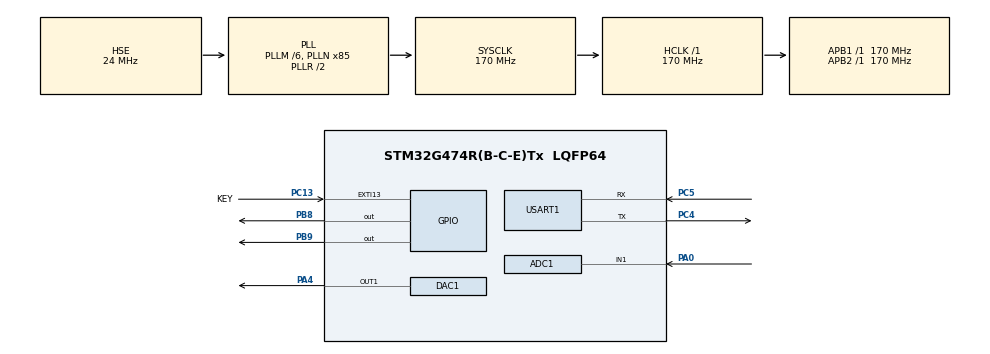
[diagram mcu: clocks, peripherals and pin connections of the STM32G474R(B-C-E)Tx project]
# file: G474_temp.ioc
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ADC1.Channel-0\#ChannelRegularConversion=ADC_CHANNEL_1
ADC1.ContinuousConvMode=DISABLE
ADC1.DMAContinuousRequests=ENABLE
ADC1.ExternalTrigConv=ADC_EXTERNALTRIG_T3_TRGO
ADC1.NbrOfConversionFlag=1
ADC1.OffsetNumber-0\#ChannelRegularConversion=ADC_OFFSET_NONE
ADC1.Overrun=ADC_OVR_DATA_PRESERVED
ADC1.Rank-0\#ChannelRegularConversion=1
ADC1.SamplingTime-0\#ChannelRegularConversion=ADC_SAMPLETIME_2CYCLES_5
ADC1.master=1
DAC1.DAC_Trigger_OUT1-DAC_OUT1=DAC_TRIGGER_T6_TRGO
Dma.ADC1.0.Direction=DMA_PERIPH_TO_MEMORY
Dma.ADC1.0.EventEnable=DISABLE
Dma.ADC1.0.Instance=DMA1_Channel1
Dma.ADC1.0.MemDataAlignment=DMA_MDATAALIGN_HALFWORD
Dma.ADC1.0.MemInc=DMA_MINC_ENABLE
Dma.ADC1.0.Mode=DMA_CIRCULAR
Dma.ADC1.0.PeriphDataAlignment=DMA_PDATAALIGN_HALFWORD
Dma.ADC1.0.PeriphInc=DMA_PINC_DISABLE
Dma.ADC1.0.Polarity=HAL_DMAMUX_REQ_GEN_RISING
Dma.ADC1.0.Priority=DMA_PRIORITY_LOW
Dma.ADC1.0.RequestNumber=1
Dma.ADC1.0.SignalID=NONE
Dma.ADC1.0.SyncEnable=DISABLE
Dma.ADC1.0.SyncPolarity=HAL_DMAMUX_SYNC_NO_EVENT
Dma.ADC1.0.SyncRequestNumber=1
Dma.ADC1.0.SyncSignalID=NONE
Dma.DAC1_CH1.1.Direction=DMA_MEMORY_TO_PERIPH
Dma.DAC1_CH1.1.EventEnable=DISABLE
Dma.DAC1_CH1.1.Instance=DMA1_Channel2
Dma.DAC1_CH1.1.MemDataAlignment=DMA_MDATAALIGN_HALFWORD
Dma.DAC1_CH1.1.MemInc=DMA_MINC_ENABLE
Dma.DAC1_CH1.1.Mode=DMA_CIRCULAR
Dma.DAC1_CH1.1.PeriphDataAlignment=DMA_PDATAALIGN_WORD
Dma.DAC1_CH1.1.PeriphInc=DMA_PINC_DISABLE
Dma.DAC1_CH1.1.Polarity=HAL_DMAMUX_REQ_GEN_RISING
Dma.DAC1_CH1.1.Priority=DMA_PRIORITY_LOW
Dma.DAC1_CH1.1.RequestNumber=1
Dma.DAC1_CH1.1.SignalID=NONE
Dma.DAC1_CH1.1.SyncEnable=DISABLE
Dma.DAC1_CH1.1.SyncPolarity=HAL_DMAMUX_SYNC_NO_EVENT
Dma.DAC1_CH1.1.SyncRequestNumber=1
Dma.DAC1_CH1.1.SyncSignalID=NONE
Dma.Request0=ADC1
Dma.Request1=DAC1_CH1
Mcu.Family=STM32G4
Mcu.Name=STM32G474R(B-C-E)Tx
Mcu.Package=LQFP64
NVIC.DMA1_Channel1_IRQn=true\:0\:0\:false\:false\:true\:false\:true\:true
NVIC.DMA1_Channel2_IRQn=true\:0\:0\:false\:false\:true\:false\:true\:true
NVIC.EXTI15_10_IRQn=true\:0\:0\:false\:false\:true\:true\:true\:true
NVIC.PriorityGroup=NVIC_PRIORITYGROUP_4
NVIC.USART1_IRQn=true\:0\:0\:false\:false\:true\:true\:true\:true
PA0.Mode=IN1-Single-Ended
PA0.Signal=ADC1_IN1
PA13.Mode=Serial_Wire
PA13.Signal=SYS_JTMS-SWDIO
PA14.Mode=Serial_Wire
PA14.Signal=SYS_JTCK-SWCLK
PA4.Signal=COMP_DAC11_group
PB8-BOOT0.GPIO_FM8=__NULL
PB8-BOOT0.GPIO_ModeDefaultOutputPP=GPIO_MODE_OUTPUT_OD
PB8-BOOT0.GPIO_PuPd=GPIO_PULLUP
PB8-BOOT0.GPIO_Speed=GPIO_SPEED_FREQ_VERY_HIGH
PB8-BOOT0.Signal=GPIO_Output
PB9.GPIO_ModeDefaultOutputPP=GPIO_MODE_OUTPUT_OD
PB9.GPIO_PuPd=GPIO_PULLUP
PB9.GPIO_Speed=GPIO_SPEED_FREQ_VERY_HIGH
PB9.Signal=GPIO_Output
PC13.GPIO_Label=KEY
PC13.Signal=GPXTI13
PC14-OSC32_IN.Mode=LSE-External-Oscillator
PC14-OSC32_IN.Signal=RCC_OSC32_IN
PC15-OSC32_OUT.Mode=LSE-External-Oscillator
PC15-OSC32_OUT.Signal=RCC_OSC32_OUT
PC4.Mode=Asynchronous
PC4.Signal=USART1_TX
PC5.Mode=Asynchronous
PC5.Signal=USART1_RX
PF0-OSC_IN.Mode=HSE-External-Oscillator
PF0-OSC_IN.Signal=RCC_OSC_IN
PF1-OSC_OUT.Mode=HSE-External-Oscillator
PF1-OSC_OUT.Signal=RCC_OSC_OUT
ProjectManager.HeapSize=0x200
ProjectManager.StackSize=0x400
ProjectManager.TargetToolchain=MDK-ARM V5.32
RCC.ADC12Freq_Value=170000000
RCC.ADC345Freq_Value=170000000
RCC.AHBFreq_Value=170000000
RCC.APB1Freq_Value=170000000
RCC.APB1TimFreq_Value=170000000
RCC.APB2Freq_Value=170000000
RCC.APB2TimFreq_Value=170000000
RCC.CortexFreq_Value=170000000
RCC.EXTERNAL_CLOCK_VALUE=12288000
RCC.HCLKFreq_Value=170000000
RCC.HSE_VALUE=24000000
RCC.HSI48_VALUE=48000000
RCC.HSI_VALUE=16000000
RCC.PLLM=RCC_PLLM_DIV6
RCC.PLLN=85
RCC.PLLSourceVirtual=RCC_PLLSOURCE_HSE
RCC.RTCClockSelection=RCC_RTCCLKSOURCE_LSE
RCC.SYSCLKFreq_VALUE=170000000
RCC.SYSCLKSource=RCC_SYSCLKSOURCE_PLLCLK
RCC.USBFreq_Value=170000000
RCC.VCOOutputFreq_Value=340000000
SH.COMP_DAC11_group.0=DAC1_OUT1,DAC_OUT1
TIM3.PeriodNoDither=10-1
TIM3.Prescaler=17-1
TIM3.TIM_MasterOutputTrigger=TIM_TRGO_UPDATE
TIM6.AutoReloadPreload=TIM_AUTORELOAD_PRELOAD_ENABLE
TIM6.PeriodNoDither=10-1
TIM6.Prescaler=17-1
TIM6.TIM_MasterOutputTrigger=TIM_TRGO_UPDATE
USART1.VirtualMode-Asynchronous=VM_ASYNC
VP_SYS_VS_DBSignals.Mode=DisableDeadBatterySignals
VP_TIM3_VS_ClockSourceINT.Mode=Internal
VP_TIM6_VS_ClockSourceINT.Mode=Enable_Timer
board=NUCLEO-G474RE

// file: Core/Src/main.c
/* USER CODE BEGIN Header */
/**
  ******************************************************************************
  * @file           : main.c
  * @brief          : Main program body
  ******************************************************************************
  * @attention
  *
  * Copyright (c) 2023 STMicroelectronics.
  * All rights reserved.
  *
  * This software is licensed under terms that can be found in the LICENSE file
  * in the root directory of this software component.
  * If no LICENSE file comes with this software, it is provided AS-IS.
  *
  ******************************************************************************
  */
/* USER CODE END Header */
#include "main.h"
#include "adc.h"
#include "dac.h"
#include "dma.h"
#include "tim.h"
#include "usart.h"
#include "gpio.h"

/* USER CODE BEGIN Includes */
#include "delay.h"
#include "myusart1.h"
#include "OLED_I2C.h"
/* USER CODE END Includes */

void SystemClock_Config(void);
/* USER CODE BEGIN PFP */
uint16_t adc_value[100]={0};
uint16_t dac_value[100]={0};
/* USER CODE END PFP */

int main(void)
{

  /* MCU Configuration--------------------------------------------------------*/

  /* Reset of all peripherals, Initializes the Flash interface and the Systick. */
  HAL_Init();

  /* Configure the system clock */
  SystemClock_Config();

  /* Initialize all configured peripherals */
  MX_GPIO_Init();
  MX_DMA_Init();
  MX_USART1_UART_Init();
  MX_ADC1_Init();
  MX_DAC1_Init();
  MX_TIM6_Init();
  MX_TIM3_Init();
  /* USER CODE BEGIN 2 */
  delay_init(170);
  MyUSART1_Init(&huart1);
  OLED_Init();
  OLED_CLS();

  HAL_TIM_Base_Start(&htim3);
  HAL_ADC_Start_DMA(&hadc1,(uint32_t*)adc_value,100);

  HAL_TIM_Base_Start(&htim6);
  HAL_DAC_Start_DMA(&hdac1,DAC_CHANNEL_1,(uint32_t*)dac_value,100,DAC_ALIGN_12B_R);
  /* USER CODE END 2 */

  /* Infinite loop */
  while (1)
  {

  }
}

void SystemClock_Config(void)
{
  RCC_OscInitTypeDef RCC_OscInitStruct = {0};
  RCC_ClkInitTypeDef RCC_ClkInitStruct = {0};

  /** Configure the main internal regulator output voltage
  */
  HAL_PWREx_ControlVoltageScaling(PWR_REGULATOR_VOLTAGE_SCALE1_BOOST);

  /** Initializes the RCC Oscillators according to the specified parameters
  * in the RCC_OscInitTypeDef structure.
  */
  RCC_OscInitStruct.OscillatorType = RCC_OSCILLATORTYPE_HSE;
  RCC_OscInitStruct.HSEState = RCC_HSE_ON;
  RCC_OscInitStruct.PLL.PLLState = RCC_PLL_ON;
  RCC_OscInitStruct.PLL.PLLSource = RCC_PLLSOURCE_HSE;
  RCC_OscInitStruct.PLL.PLLM = RCC_PLLM_DIV6;
  RCC_OscInitStruct.PLL.PLLN = 85;
  RCC_OscInitStruct.PLL.PLLP = RCC_PLLP_DIV2;
  RCC_OscInitStruct.PLL.PLLQ = RCC_PLLQ_DIV2;
  RCC_OscInitStruct.PLL.PLLR = RCC_PLLR_DIV2;
  if (HAL_RCC_OscConfig(&RCC_OscInitStruct) != HAL_OK)
  {
    Error_Handler();
  }

  /** Initializes the CPU, AHB and APB buses clocks
  */
  RCC_ClkInitStruct.ClockType = RCC_CLOCKTYPE_HCLK|RCC_CLOCKTYPE_SYSCLK
                              |RCC_CLOCKTYPE_PCLK1|RCC_CLOCKTYPE_PCLK2;
  RCC_ClkInitStruct.SYSCLKSource = RCC_SYSCLKSOURCE_PLLCLK;
  RCC_ClkInitStruct.AHBCLKDivider = RCC_SYSCLK_DIV1;
  RCC_ClkInitStruct.APB1CLKDivider = RCC_HCLK_DIV1;
  RCC_ClkInitStruct.APB2CLKDivider = RCC_HCLK_DIV1;

  if (HAL_RCC_ClockConfig(&RCC_ClkInitStruct, FLASH_LATENCY_4) != HAL_OK)
  {
    Error_Handler();
  }
}

/* USER CODE BEGIN 4 */
void HAL_GPIO_EXTI_Callback(uint16_t GPIO_PIN)
{
	if(KEY_Pin)
	{
	}
}

void HAL_ADC_ConvCpltCallback(ADC_HandleTypeDef *hadc)
{
	uint16_t i= 0;
	if(hadc == &hadc1)
	{
		for(i = 0; i<100;i++)
		{
			dac_value[i] = adc_value[i];
		}
	}
//	dac_value[0] = adc_value[0];
//	HAL_ADC_Start_DMA(&hadc1,(uint32_t*)adc_value,1);
}
/* USER CODE END 4 */

void Error_Handler(void)
{
  __disable_irq();
  while (1)
  {
  }
}
